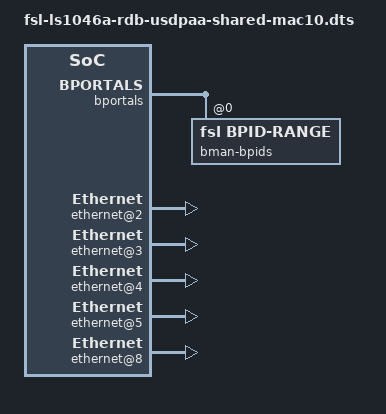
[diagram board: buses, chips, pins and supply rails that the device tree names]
// SPDX-License-Identifier: (GPL-2.0+ OR BSD-3-Clause)
/*
 * Copyright 2019-2021 NXP
 * Device Tree file to support Shared Mac interface for 1046A family SoC.
 * This file is for MAC10 as shared and rest of the interfaces are for Userspace-DPDK
 */

#include "fsl-ls1046a-rdb-sdk.dts"

&bportals {
	bman-bpids@0 {
		compatible = "fsl,bpid-range";
		fsl,bpid-range = <16 48>;
	};
};

&soc {
	bp7: buffer-pool@7 {
		compatible = "fsl,ls1046a-bpool", "fsl,bpool";
		fsl,bpid = <7>;
		fsl,bpool-ethernet-cfg = <0 16 0 1728 0 0xdeadbeef>;
		fsl,bpool-thresholds = <0x400 0xc00 0x0 0x0>;
		dma-coherent;
	};

	bp8: buffer-pool@8 {
		compatible = "fsl,ls1046a-bpool", "fsl,bpool";
		fsl,bpid = <8>;
		fsl,bpool-ethernet-cfg = <0 16 0 1728 0 0xabbaf00d>;
		fsl,bpool-thresholds = <0x100 0x300 0x0 0x0>;
		dma-coherent;
	};

	bp9: buffer-pool@9 {
		compatible = "fsl,ls1046a-bpool", "fsl,bpool";
		fsl,bpid = <9>;
		fsl,bpool-ethernet-cfg = <0 16 0 1728 0 0xfeedabba>;
		fsl,bpool-thresholds = <0x100 0x300 0x0 0x0>;
		dma-coherent;
	};

	fsl,dpaa {
		compatible = "fsl,ls1046a", "fsl,dpaa", "simple-bus";
		dma-coherent;

		ethernet@2 {
			compatible = "fsl,dpa-ethernet-init";
			fsl,bman-buffer-pools = <&bp7 &bp8 &bp9>;
			fsl,qman-frame-queues-rx = <0x54 1 0x55 1>;
			fsl,qman-frame-queues-tx = <0x74 1 0x75 1>;
		};

		ethernet@3 {
			compatible = "fsl,dpa-ethernet-init";
			fsl,bman-buffer-pools = <&bp7 &bp8 &bp9>;
			fsl,qman-frame-queues-rx = <0x56 1 0x57 1>;
			fsl,qman-frame-queues-tx = <0x76 1 0x77 1>;
		};

		ethernet@4 {
			compatible = "fsl,dpa-ethernet-init";
			fsl,bman-buffer-pools = <&bp7 &bp8 &bp9>;
			fsl,qman-frame-queues-rx = <0x58 1 0x59 1>;
			fsl,qman-frame-queues-tx = <0x78 1 0x79 1>;
		};

		ethernet@5 {
			compatible = "fsl,dpa-ethernet-init";
			fsl,bman-buffer-pools = <&bp7 &bp8 &bp9>;
			fsl,qman-frame-queues-rx = <0x5a 1 0x5b 1>;
			fsl,qman-frame-queues-tx = <0x7a 1 0x7b 1>;
		};

		ethernet@8 {
			compatible = "fsl,dpa-ethernet-init";
			fsl,bman-buffer-pools = <&bp7 &bp8 &bp9>;
			fsl,qman-frame-queues-rx = <0x5c 1 0x5d 1>;
			fsl,qman-frame-queues-tx = <0x7c 1 0x7d 1>;
		};

		ethernet@9 {
			fsl,bman-buffer-pools = <&bp7 &bp8 &bp9>;
			fsl,qman-frame-queues-rx = <0x5e 1 0x5f 1 0x8b 1>;
			fsl,qman-frame-queues-tx = <0x7e 1 0x7f 1 0x85 1>;
		};

		dpa-fman0-oh@2 {
			compatible = "fsl,dpa-oh";
			/* Define frame queues for the OH port*/
			/* <OH Rx error, OH Rx default> */
			fsl,qman-frame-queues-oh = <0x60 1 0x61 1>;
			fsl,fman-oh-port = <&fman0_oh2>;
		};
	};
};

/ {
	chosen {
		name = "chosen";
		dpaa-extended-args {
			fman0-extd-args {

				cell-index = <0>;
				compatible = "fsl,fman-extended-args";
				dma-aid-mode = "port";

				fman0_rxt1-extd-args {
					cell-index = <1>;
					compatible = "fsl,fman-port-10g-rx-extended-args";
					/* Define Virtual storage profile */
					/* <number of profiles, default profile id> */
					vsp-window = <2 0>;
				};
			};
		};
	};

	reserved-memory {
		#address-cells = <2>;
		#size-cells = <2>;
		ranges;

		/* For legacy usdpaa based use-cases, update the size and
		   alignment parameters. e.g. to allocate 256 MB memory:
		   size = <0 0x10000000>;
		   alignment = <0 0x10000000>;
		*/
		usdpaa_mem: usdpaa_mem {
			compatible = "fsl,usdpaa-mem";
			alloc-ranges = <0 0 0x10000 0>;
			size = <0 0x1000>;
			alignment = <0 0x1000>;
		};
	};
};

&fman0 {
	fman0_oh2: port@83000 {
		cell-index = <1>;
		compatible = "fsl,fman-port-oh";
		reg = <0x83000 0x1000>;
	};
};
